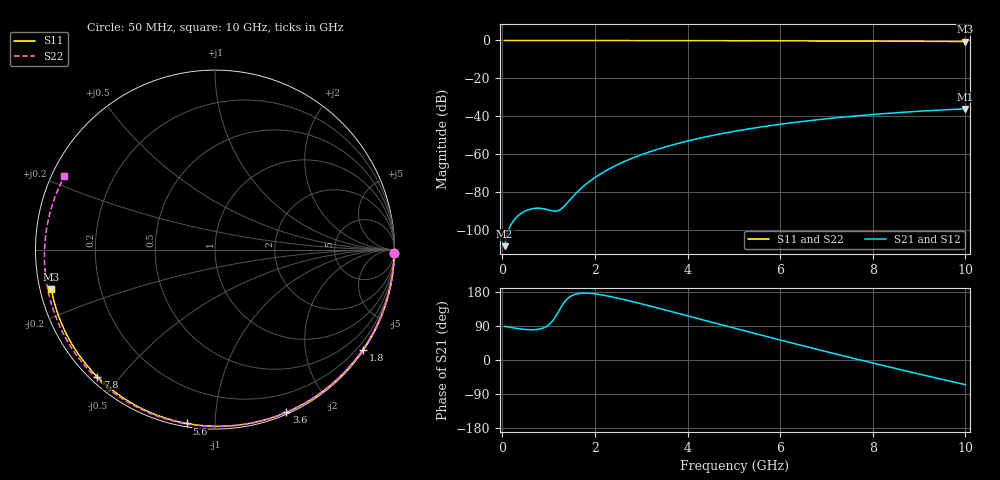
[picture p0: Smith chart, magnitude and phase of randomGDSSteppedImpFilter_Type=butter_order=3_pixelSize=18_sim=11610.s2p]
! freq	dB(S11)	phase(S11)	dB(S12)	phase(S12)
!  dB(S21)	phase(S21)	dB(S22)	phase(S22)
!S-par simulation data
#  GHz  S  DB  R 50
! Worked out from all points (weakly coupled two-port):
!   200 points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, 50 MHz to 10 GHz, reference 50 ohm
!   highest |S21| = -36.09 dB at 10 GHz (marker M1); lowest = -108.6 dB at 50 MHz (marker M2)
!   lowest |S11| = -0.6 dB at 10 GHz (marker M3), VSWR 31.35, Z = 1.62 - j5.96 ohm
!   |S11| at or under -10 dB: nowhere
!   |S22| runs from -0.6 to 0.0 dB; largest |S21 - S12| = 0
!   S11 on the Smith chart (normalised r, x): 50 MHz: open; 1.8 GHz: 0.03, -3.26; 3.6 GHz: 0.02, -1.53; 5.6 GHz: 0.02, -0.85; 7.8 GHz: 0.02, -0.44; 10 GHz: 0.03, -0.12
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0.05  -0.00 -0.9  -108.55 88.9  -108.55 88.9  -0.00 -1.2
0.45  -0.01 -8.6  -90.58 81.2  -90.58 81.2  -0.02 -11.1
0.8  -0.02 -15.3  -88.53 81.6  -88.53 81.6  -0.03 -19.6
1.2  -0.03 -22.9  -89.91 124.9  -89.91 124.9  -0.04 -29.3
1.6  -0.04 -30.4  -80.42 174.2  -80.42 174.2  -0.05 -38.8
1.75  -0.04 -33.2  -77.00 176.5  -77.00 176.5  -0.05 -42.4
1.8  -0.04 -34.1  -75.97 176.5  -75.97 176.5  -0.06 -43.5
2.1  -0.05 -39.7  -70.73 172.8  -70.73 172.8  -0.06 -50.5
2.45  -0.06 -46.0  -66.00 164.4  -66.00 164.4  -0.07 -58.4
2.9  -0.07 -54.1  -61.24 151.4  -61.24 151.4  -0.09 -68.4
3.4  -0.08 -62.9  -57.06 135.8  -57.06 135.8  -0.10 -79.2
3.6  -0.09 -66.3  -55.62 129.5  -55.62 129.5  -0.11 -83.5
4.3  -0.11 -78.2  -51.36 106.9  -51.36 106.9  -0.14 -97.8
5.05  -0.14 -90.5  -47.77 82.8  -47.77 82.8  -0.17 -112.6
5.6  -0.16 -99.2  -45.60 65.4  -45.60 65.4  -0.20 -123.1
6.15  -0.19 -107.8  -43.73 48.1  -43.73 48.1  -0.23 -133.4
6.7  -0.23 -116.3  -42.11 31.1  -42.11 31.1  -0.27 -143.5
7.25  -0.27 -124.6  -40.70 14.4  -40.70 14.4  -0.31 -153.6
7.8  -0.31 -132.9  -39.48 -2.1  -39.48 -2.1  -0.36 -163.7
8.35  -0.36 -141.1  -38.41 -18.3  -38.41 -18.3  -0.41 -173.9
9.2  -0.45 -154.0  -37.06 -42.7  -37.06 -42.7  -0.51 169.9
10  -0.55 -166.4  -36.09 -65.0  -36.09 -65.0  -0.60 154.0
